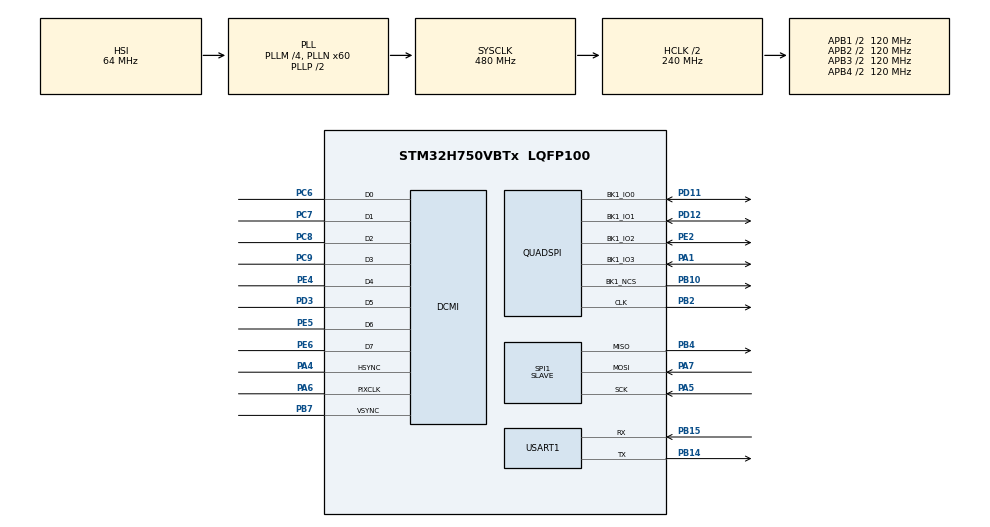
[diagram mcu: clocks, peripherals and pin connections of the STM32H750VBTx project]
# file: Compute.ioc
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CORTEX_M7.CPU_DCache=Enabled
CORTEX_M7.CPU_ICache=Enabled
DCMI.JPEGMode=DCMI_JPEG_DISABLE
DCMI.PCKPolarity=DCMI_PCKPOLARITY_RISING
DCMI.VSPolarity=DCMI_VSPOLARITY_LOW
HASH.SecureHashAlgorithmType=MD5
Mcu.Family=STM32H7
Mcu.Name=STM32H750VBTx
Mcu.Package=LQFP100
NVIC.PriorityGroup=NVIC_PRIORITYGROUP_4
NVIC.USART1_IRQn=true\:0\:0\:false\:false\:true\:true\:true
PA1.Mode=Single Bank 1
PA1.Signal=QUADSPI_BK1_IO3
PA4.Mode=Slave_8_bits_External_Synchro
PA4.Signal=DCMI_HSYNC
PA5.Mode=Full_Duplex_Slave
PA5.Signal=SPI1_SCK
PA6.Mode=Slave_8_bits_External_Synchro
PA6.Signal=DCMI_PIXCLK
PA7.Mode=Full_Duplex_Slave
PA7.Signal=SPI1_MOSI
PB10.Mode=Single Bank 1
PB10.Signal=QUADSPI_BK1_NCS
PB14.Mode=Asynchronous
PB14.Signal=USART1_TX
PB15.Mode=Asynchronous
PB15.Signal=USART1_RX
PB2.Mode=Single Bank 1
PB2.Signal=QUADSPI_CLK
PB4\ (NJTRST).Mode=Full_Duplex_Slave
PB4\ (NJTRST).Signal=SPI1_MISO
PB7.Mode=Slave_8_bits_External_Synchro
PB7.Signal=DCMI_VSYNC
PC6.Mode=Slave_8_bits_External_Synchro
PC6.Signal=DCMI_D0
PC7.Mode=Slave_8_bits_External_Synchro
PC7.Signal=DCMI_D1
PC8.Mode=Slave_8_bits_External_Synchro
PC8.Signal=DCMI_D2
PC9.Mode=Slave_8_bits_External_Synchro
PC9.Signal=DCMI_D3
PD11.Mode=Single Bank 1
PD11.Signal=QUADSPI_BK1_IO0
PD12.Mode=Single Bank 1
PD12.Signal=QUADSPI_BK1_IO1
PD3.Mode=Slave_8_bits_External_Synchro
PD3.Signal=DCMI_D5
PE2.Mode=Single Bank 1
PE2.Signal=QUADSPI_BK1_IO2
PE4.Mode=Slave_8_bits_External_Synchro
PE4.Signal=DCMI_D4
PE5.Mode=Slave_8_bits_External_Synchro
PE5.Signal=DCMI_D6
PE6.Mode=Slave_8_bits_External_Synchro
PE6.Signal=DCMI_D7
ProjectManager.HeapSize=0x200
ProjectManager.StackSize=0x400
ProjectManager.TargetToolchain=MDK-ARM V5.27
RCC.ADCFreq_Value=129000000
RCC.APB1Freq_Value=120000000
RCC.APB2Freq_Value=120000000
RCC.APB3Freq_Value=120000000
RCC.APB4Freq_Value=120000000
RCC.CortexFreq_Value=480000000
RCC.D1PPRE=RCC_APB3_DIV2
RCC.D2PPRE1=RCC_APB1_DIV2
RCC.D2PPRE2=RCC_APB2_DIV2
RCC.D3PPRE=RCC_APB4_DIV2
RCC.DIVM1=4
RCC.DIVN1=60
RCC.HCLKFreq_Value=240000000
RCC.HPRE=RCC_HCLK_DIV2
RCC.PLL2FRACN=0
RCC.PLL3FRACN=0
RCC.PLLFRACN=0
RCC.QSPICLockSelection=RCC_QSPICLKSOURCE_PLL
RCC.SYSCLKFreq_VALUE=480000000
RCC.SYSCLKSource=RCC_SYSCLKSOURCE_PLLCLK
RCC.USBFreq_Value=480000000
SPI1.Direction=SPI_DIRECTION_2LINES
SPI1.Mode=SPI_MODE_SLAVE
SPI1.VirtualType=VM_SLAVE
USART1.VirtualMode-Asynchronous=VM_ASYNC
VP_HASH_VS_HASH.Mode=HASH_Activate
board=custom

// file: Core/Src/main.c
/* USER CODE BEGIN Header */
/**
  ******************************************************************************
  * @file           : main.c
  * @brief          : Main program body
  ******************************************************************************
  * @attention
  *
  * <h2><center>&copy; Copyright (c) 2021 STMicroelectronics.
  * All rights reserved.</center></h2>
  *
  * This software component is licensed by ST under BSD 3-Clause license,
  * the "License"; You may not use this file except in compliance with the
  * License. You may obtain a copy of the License at:
  *                        opensource.org/licenses/BSD-3-Clause
  *
  ******************************************************************************
  */
/* USER CODE END Header */
#include "main.h"
#include "dcmi.h"
#include "hash.h"
#include "quadspi.h"
#include "spi.h"
#include "usart.h"
#include "gpio.h"

/* USER CODE BEGIN PV */
extern CURRENT_STATE stm32_state_t;
/* USER CODE END PV */

void SystemClock_Config(void);

/* USER CODE BEGIN 0 */
extern void TaskSPI(void);
extern void TaskRecognize(void);
extern void TaskRoute(void);
extern void TaskTransmit(void);
/* USER CODE END 0 */

int main(void)
{

  /* Enable I-Cache---------------------------------------------------------*/
  SCB_EnableICache();

  /* Enable D-Cache---------------------------------------------------------*/
  SCB_EnableDCache();

  /* MCU Configuration--------------------------------------------------------*/

  /* Reset of all peripherals, Initializes the Flash interface and the Systick. */
  HAL_Init();

  /* Configure the system clock */
  SystemClock_Config();

  /* Initialize all configured peripherals */
  MX_GPIO_Init();
  MX_SPI1_Init();
  MX_HASH_Init();
  MX_QUADSPI_Init();
  MX_USART1_UART_Init();
  MX_DCMI_Init();

  /* Infinite loop */
  while (1)
  {

  }
}

void SystemClock_Config(void)
{
  RCC_OscInitTypeDef RCC_OscInitStruct = {0};
  RCC_ClkInitTypeDef RCC_ClkInitStruct = {0};
  RCC_PeriphCLKInitTypeDef PeriphClkInitStruct = {0};

  /** Supply configuration update enable
  */
  HAL_PWREx_ConfigSupply(PWR_LDO_SUPPLY);
  /** Configure the main internal regulator output voltage
  */
  __HAL_PWR_VOLTAGESCALING_CONFIG(PWR_REGULATOR_VOLTAGE_SCALE0);

  while(!__HAL_PWR_GET_FLAG(PWR_FLAG_VOSRDY)) {}
  /** Initializes the RCC Oscillators according to the specified parameters
  * in the RCC_OscInitTypeDef structure.
  */
  RCC_OscInitStruct.OscillatorType = RCC_OSCILLATORTYPE_HSI;
  RCC_OscInitStruct.HSIState = RCC_HSI_DIV1;
  RCC_OscInitStruct.HSICalibrationValue = RCC_HSICALIBRATION_DEFAULT;
  RCC_OscInitStruct.PLL.PLLState = RCC_PLL_ON;
  RCC_OscInitStruct.PLL.PLLSource = RCC_PLLSOURCE_HSI;
  RCC_OscInitStruct.PLL.PLLM = 4;
  RCC_OscInitStruct.PLL.PLLN = 60;
  RCC_OscInitStruct.PLL.PLLP = 2;
  RCC_OscInitStruct.PLL.PLLQ = 2;
  RCC_OscInitStruct.PLL.PLLR = 2;
  RCC_OscInitStruct.PLL.PLLRGE = RCC_PLL1VCIRANGE_3;
  RCC_OscInitStruct.PLL.PLLVCOSEL = RCC_PLL1VCOWIDE;
  RCC_OscInitStruct.PLL.PLLFRACN = 0;
  if (HAL_RCC_OscConfig(&RCC_OscInitStruct) != HAL_OK)
  {
    Error_Handler();
  }
  /** Initializes the CPU, AHB and APB buses clocks
  */
  RCC_ClkInitStruct.ClockType = RCC_CLOCKTYPE_HCLK|RCC_CLOCKTYPE_SYSCLK
                              |RCC_CLOCKTYPE_PCLK1|RCC_CLOCKTYPE_PCLK2
                              |RCC_CLOCKTYPE_D3PCLK1|RCC_CLOCKTYPE_D1PCLK1;
  RCC_ClkInitStruct.SYSCLKSource = RCC_SYSCLKSOURCE_PLLCLK;
  RCC_ClkInitStruct.SYSCLKDivider = RCC_SYSCLK_DIV1;
  RCC_ClkInitStruct.AHBCLKDivider = RCC_HCLK_DIV2;
  RCC_ClkInitStruct.APB3CLKDivider = RCC_APB3_DIV2;
  RCC_ClkInitStruct.APB1CLKDivider = RCC_APB1_DIV2;
  RCC_ClkInitStruct.APB2CLKDivider = RCC_APB2_DIV2;
  RCC_ClkInitStruct.APB4CLKDivider = RCC_APB4_DIV2;

  if (HAL_RCC_ClockConfig(&RCC_ClkInitStruct, FLASH_LATENCY_4) != HAL_OK)
  {
    Error_Handler();
  }
  PeriphClkInitStruct.PeriphClockSelection = RCC_PERIPHCLK_USART1|RCC_PERIPHCLK_SPI1
                              |RCC_PERIPHCLK_QSPI;
  PeriphClkInitStruct.QspiClockSelection = RCC_QSPICLKSOURCE_PLL;
  PeriphClkInitStruct.Spi123ClockSelection = RCC_SPI123CLKSOURCE_PLL;
  PeriphClkInitStruct.Usart16ClockSelection = RCC_USART16CLKSOURCE_D2PCLK2;
  if (HAL_RCCEx_PeriphCLKConfig(&PeriphClkInitStruct) != HAL_OK)
  {
    Error_Handler();
  }
}

/* USER CODE BEGIN 4 */
void TaskSPI(void)//SPI通讯
{
	extern char spi_information[64];

	if(stm32_state_t==BUSY)//忙碌状态下缓存指令到FIFO
	{

	}
	else if(stm32_state_t==DONE)//空闲状态下读取指令并执行
	{

	}
	else if(stm32_state_t==UNSTABLE)//不稳定状态下不接收指令并发送报警消息
	{

	}
	else//其他状态无动作
	{

	}
}

void TaskRecognize(void)//处理人脸识别
{
	stm32_state_t=BUSY;

	stm32_state_t=DONE;
}

void TaskRoute(void)//标记当前任务正在运行
{

}

void TaskTransmit(void)//传输人脸识别结果
{
	stm32_state_t=RESTRANS;

	stm32_state_t=DONE;
}

/* USER CODE END 4 */

void Error_Handler(void)
{
  __disable_irq();
  while (1)
  {
  }
}

/************************ (C) COPYRIGHT STMicroelectronics *****END OF FILE****/
